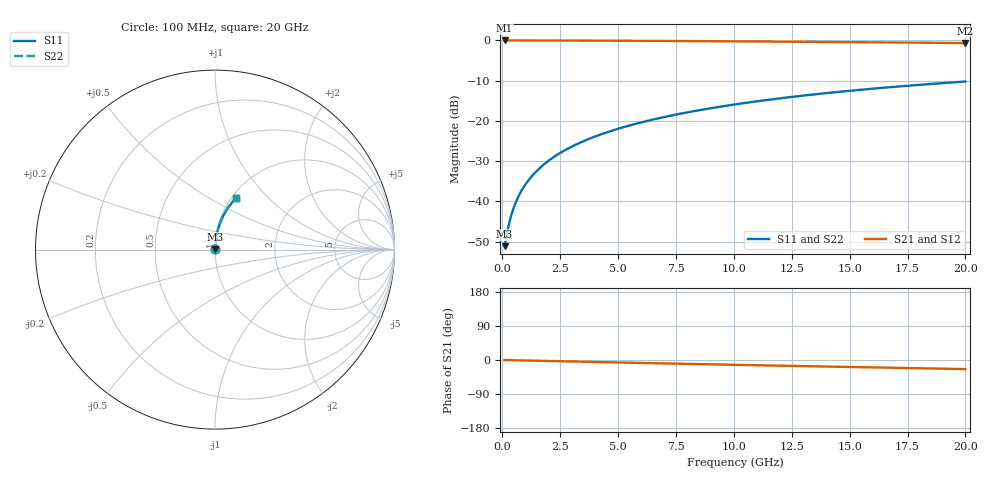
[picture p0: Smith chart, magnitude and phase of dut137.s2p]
! Touchstone file exported from HFSS 2024.1.0
!  File:  C:/UserFiles/LocalFiles/RDL_TSV_Batchsim/temp_RDL_bottom_137_1778696786.aedt
!  Generated:  02:29:10 AM May 14, 2026
!  Design:  RDL_bottom
!  Project:  temp_RDL_bottom_137_1778696786
!  Setup:  Setup1
!  Solution:  Sweep
! Variables:
!  dtsv = 10.80580581um
!  hbump = 3um
!  htsv = 79.47um
!  ldown = 260.17um
!  lrdl = 100um
!  p = 40
!  p1 = 52.04um
!  rhole = 1um
!  t = 450um
!  tdown = 3.59um
!  trdl = 3.915915916um
!  wdown = 12.15um
!  wrdl = 20um
# GHz S MA R 50.000000
! Terminal data exported
! Port[1] = RDL1_T1
! Port[2] = RDL1_T2
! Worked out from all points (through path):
!   200 points, 100 MHz to 20 GHz, reference 50 ohm
!   highest |S21| = -0.02 dB at 100 MHz (marker M1); lowest = -0.7 dB at 20 GHz (marker M2)
!   group delay of S21, straight-line fit = 3.32 ps
!   lowest |S11| = -51.1 dB at 100 MHz (marker M3), VSWR 1.01, Z = 50.2 + j0.165 ohm
!   |S11| at or under -10 dB: start of sweep to end of sweep
!   |S22| runs from -51.1 to -10.2 dB; largest |S21 - S12| = 3.6e-15
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0.1  0.002783 36.2  0.9978 -0.1  0.9978 -0.1  0.002783 36.2
! Gamma 0 0 0 0
! Port Impedance 50 0 50 0
0.2  0.003994 55.2  0.9977 -0.3  0.9977 -0.3  0.003994 55.2
0.3  0.005427 64.6  0.9977 -0.4  0.9977 -0.4  0.005427 64.6
0.4  0.006933 69.9  0.9976 -0.5  0.9976 -0.5  0.006933 69.9
0.5  0.008467 73.2  0.9975 -0.7  0.9975 -0.7  0.008467 73.2
0.6  0.01001 75.5  0.9975 -0.8  0.9975 -0.8  0.01001 75.5
0.8  0.01313 78.4  0.9973 -1.1  0.9973 -1.1  0.01313 78.5
1.1  0.01783 80.9  0.9971 -1.5  0.9971 -1.5  0.01783 80.9
1.5  0.02413 82.5  0.9968 -2.0  0.9968 -2.0  0.02413 82.5
1.8  0.02888 83.2  0.9964 -2.4  0.9964 -2.4  0.02888 83.2
2.1  0.03363 83.6  0.9961 -2.8  0.9961 -2.8  0.03363 83.6
2.7  0.04317 84.0  0.9952 -3.6  0.9952 -3.6  0.04317 84.0
3.5  0.05591 83.9  0.9937 -4.6  0.9937 -4.6  0.05591 83.9
4.2  0.06708 83.6  0.9922 -5.5  0.9922 -5.5  0.06708 83.6
5  0.07987 83.2  0.9902 -6.5  0.9902 -6.5  0.07987 83.2
5.9  0.09426 82.5  0.9877 -7.7  0.9877 -7.7  0.09427 82.5
6.8  0.1087 81.7  0.9848 -8.8  0.9848 -8.8  0.1087 81.7
8.3  0.1326 80.3  0.9797 -10.6  0.9797 -10.6  0.1326 80.3
10.1  0.1611 78.5  0.9728 -12.8  0.9728 -12.8  0.1611 78.5
13.4  0.2123 74.9  0.9587 -16.7  0.9587 -16.7  0.2124 74.9
16.7  0.2616 71.3  0.9431 -20.4  0.9431 -20.4  0.2616 71.3
20  0.3084 67.7  0.9263 -24.0  0.9263 -24.0  0.3085 67.8
